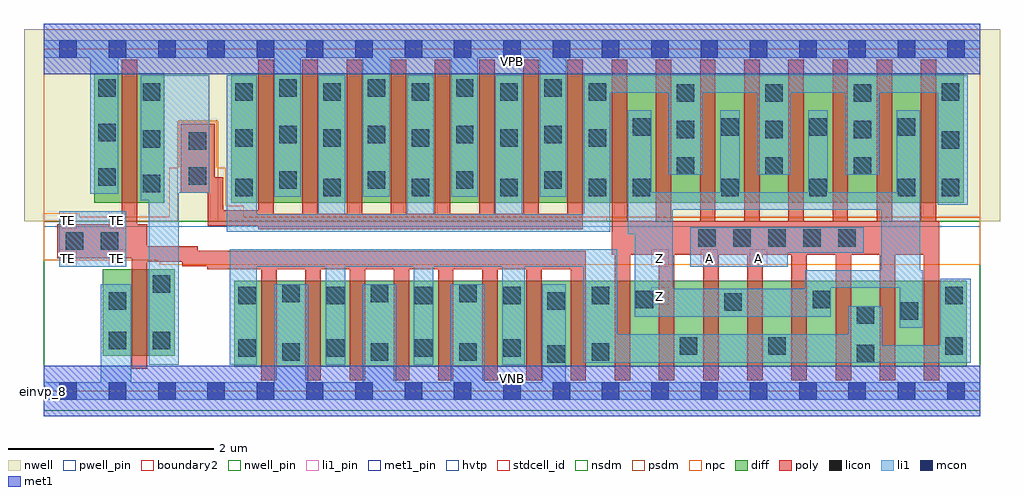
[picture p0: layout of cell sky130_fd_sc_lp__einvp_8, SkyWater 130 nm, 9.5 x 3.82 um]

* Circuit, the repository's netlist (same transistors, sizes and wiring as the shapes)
* Copyright 2020 The SkyWater PDK Authors
*
* Licensed under the Apache License, Version 2.0 (the "License");
* you may not use this file except in compliance with the License.
* You may obtain a copy of the License at
*
*     https://www.apache.org/licenses/LICENSE-2.0
*
* Unless required by applicable law or agreed to in writing, software
* distributed under the License is distributed on an "AS IS" BASIS,
* WITHOUT WARRANTIES OR CONDITIONS OF ANY KIND, either express or implied.
* See the License for the specific language governing permissions and
* limitations under the License.
*
* SPDX-License-Identifier: Apache-2.0

.SUBCKT sky130_fd_sc_lp__einvp_8 A TE VGND VNB VPB VPWR Z
*.PININFO A:I TE:I VGND:I VNB:I VPB:I VPWR:I Z:O
MMN0 Z A sndA VNB sky130_fd_pr__nfet_01v8 m=8 w=0.84U l=0.15U mult=1 sa=0.265 sb=0.265
+ sd=0.28 area=0.063 perim=1.14
MMN1 sndA TE VGND VNB sky130_fd_pr__nfet_01v8 m=8 w=0.84U l=0.15U mult=1 sa=0.265
+ sb=0.265 sd=0.28 area=0.063 perim=1.14
MMIN1 TEB TE VGND VNB sky130_fd_pr__nfet_01v8 m=1 w=0.84U l=0.15U mult=1 sa=0.265
+ sb=0.265 sd=0.28 area=0.063 perim=1.14
MMP0 VPWR TEB sndTEB VPB sky130_fd_pr__pfet_01v8_hvt m=8 w=1.26U l=0.15U mult=1
+ sa=0.265 sb=0.265 sd=0.28 area=0.063 perim=1.14
MMP1 sndTEB A Z VPB sky130_fd_pr__pfet_01v8_hvt m=8 w=1.26U l=0.15U mult=1 sa=0.265
+ sb=0.265 sd=0.28 area=0.063 perim=1.14
MMIP1 TEB TE VPWR VPB sky130_fd_pr__pfet_01v8_hvt m=1 w=1.26U l=0.15U mult=1 sa=0.265
+ sb=0.265 sd=0.28 area=0.063 perim=1.14
.ENDS sky130_fd_sc_lp__einvp_8

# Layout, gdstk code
import gdstk
lib = gdstk.Library(unit=1e-6, precision=1e-09)
def R(c, l, rs):  # rectangles x0, y0, x1, y1
    for r in rs: c.add(gdstk.rectangle(r[:2], r[2:], *l))
def A(c, l, x, y, w, h, nx, ny, dx, dy):  # array of equal rectangles
    R(c, l, [(x+i*dx, y+j*dy, x+i*dx+w, y+j*dy+h) for i in range(nx) for j in range(ny)])
def P(c, l, *ps):  # polygons
    for p in ps: c.add(gdstk.Polygon(p, *l))
nwell_pin = (64, 16)
nwell = (64, 20)
diff = (65, 20)
poly = (66, 20)
licon = (66, 44)
li1_pin = (67, 16)
li1 = (67, 20)
mcon = (67, 44)
met1_pin = (68, 16)
met1 = (68, 20)
hvtp = (78, 44)
stdcell_id = (81, 4)
nsdm = (93, 44)
psdm = (94, 20)
npc = (95, 20)
pwell_pin = (122, 16)
boundary2 = (236, 0)

sky130_fd_sc_lp__einvp_8 = lib.new_cell('sky130_fd_sc_lp__einvp_8')
R(sky130_fd_sc_lp__einvp_8, nwell_pin, [(0,3.085,9.12,3.33)])
R(sky130_fd_sc_lp__einvp_8, nwell, [(-0.19,1.655,9.31,3.52)])
R(sky130_fd_sc_lp__einvp_8, diff, [(1.855,0.235,8.985,1.075), (0.575,0.345,1.275,1.185), (0.495,1.835,1.175,3.095), (1.825,1.835,8.955,3.095)])
P(sky130_fd_sc_lp__einvp_8, poly, [(5.25,3.225),(5.1,3.225),(5.1,1.725),(4.82,1.725),(4.82,3.225),(4.67,3.225),(4.67,1.725),(4.39,1.725),(4.39,3.225),(4.24,3.225),(4.24,1.725),(3.96,1.725),(3.96,3.225),(3.81,3.225),(3.81,1.725),(3.53,1.725),(3.53,3.225),(3.38,3.225),(3.38,1.725),(3.1,1.725),(3.1,3.225),(2.95,3.225),(2.95,1.725),(2.67,1.725),(2.67,3.225),(2.52,3.225),(2.52,1.725),(2.24,1.725),(2.24,3.225),(2.09,3.225),(2.09,1.76),(1.75,1.76),(1.75,2.08),(1.665,2.08),(1.665,2.6),(1.335,2.6),(1.335,1.93),(1.6,1.93),(1.6,1.61),(2.09,1.61),(2.09,1.575),(5.25,1.575)],
  [(5.28,1.365),(1.5,1.365),(1.5,1.41),(1.01,1.41),(1.01,1.625),(0.91,1.625),(0.91,3.225),(0.76,3.225),(0.76,1.625),(0.135,1.625),(0.135,1.295),(0.86,1.295),(0.86,0.215),(1.01,0.215),(1.01,1.26),(1.35,1.26),(1.35,1.215),(1.595,1.215),(1.595,1.185),(2.12,1.185),(2.12,0.105),(2.27,0.105),(2.27,1.185),(2.55,1.185),(2.55,0.105),(2.7,0.105),(2.7,1.185),(2.98,1.185),(2.98,0.105),(3.13,0.105),(3.13,1.185),(3.41,1.185),(3.41,0.105),(3.56,0.105),(3.56,1.185),(3.84,1.185),(3.84,0.105),(3.99,0.105),(3.99,1.185),(4.27,1.185),(4.27,0.105),(4.42,0.105),(4.42,1.185),(4.7,1.185),(4.7,0.105),(4.85,0.105),(4.85,1.185),(5.13,1.185),(5.13,0.105),(5.28,0.105)],
  [(8.72,1.655),(8.69,1.655),(8.69,3.225),(8.54,3.225),(8.54,1.655),(8.26,1.655),(8.26,3.225),(8.11,3.225),(8.11,1.655),(7.83,1.655),(7.83,3.225),(7.68,3.225),(7.68,1.655),(7.4,1.655),(7.4,3.225),(7.25,3.225),(7.25,1.655),(6.97,1.655),(6.97,3.225),(6.82,3.225),(6.82,1.655),(6.54,1.655),(6.54,3.225),(6.39,3.225),(6.39,1.655),(6.11,1.655),(6.11,3.225),(5.96,3.225),(5.96,1.655),(5.68,1.655),(5.68,3.225),(5.53,3.225),(5.53,1.325),(5.56,1.325),(5.56,0.105),(5.71,0.105),(5.71,1.325),(5.99,1.325),(5.99,0.105),(6.14,0.105),(6.14,1.325),(6.42,1.325),(6.42,0.105),(6.57,0.105),(6.57,1.325),(6.85,1.325),(6.85,0.105),(7,0.105),(7,1.325),(7.28,1.325),(7.28,0.105),(7.43,0.105),(7.43,1.325),(7.71,1.325),(7.71,0.105),(7.86,0.105),(7.86,1.325),(8.14,1.325),(8.14,0.105),(8.29,0.105),(8.29,1.325),(8.57,1.325),(8.57,0.105),(8.72,0.105)])
A(sky130_fd_sc_lp__einvp_8, licon, 2.325, 0.295, 0.17, 0.17, 3, 2, 0.86, 0.57)
A(sky130_fd_sc_lp__einvp_8, licon, 1.895, 0.335, 0.17, 0.17, 4, 1, 0.86, 0)
A(sky130_fd_sc_lp__einvp_8, licon, 1.895, 0.845, 0.17, 0.17, 5, 1, 0.86, 0)
A(sky130_fd_sc_lp__einvp_8, licon, 6.375, 1.405, 0.17, 0.17, 5, 1, 0.34, 0)
A(sky130_fd_sc_lp__einvp_8, licon, 1.865, 1.895, 0.17, 0.17, 5, 2, 0.86, 0.485)
A(sky130_fd_sc_lp__einvp_8, licon, 5.735, 1.895, 0.17, 0.17, 4, 2, 0.86, 0.59)
A(sky130_fd_sc_lp__einvp_8, licon, 8.745, 1.895, 0.17, 0.17, 1, 3, 0, 0.465)
A(sky130_fd_sc_lp__einvp_8, licon, 2.295, 1.97, 0.17, 0.17, 4, 2, 0.86, 0.44)
A(sky130_fd_sc_lp__einvp_8, licon, 6.165, 2.105, 0.17, 0.17, 3, 3, 0.86, 0.355)
A(sky130_fd_sc_lp__einvp_8, licon, 1.865, 2.825, 0.17, 0.17, 5, 1, 0.86, 0)
A(sky130_fd_sc_lp__einvp_8, licon, 2.295, 2.865, 0.17, 0.17, 4, 1, 0.86, 0)
R(sky130_fd_sc_lp__einvp_8, licon, [(4.905,0.275,5.075,0.445), (7.915,0.28,8.085,0.45), (5.335,0.295,5.505,0.465), (6.195,0.355,6.365,0.525), (7.055,0.355,7.225,0.525), (8.775,0.355,8.945,0.525), (0.635,0.405,0.805,0.575), (1.065,0.405,1.235,0.575), (7.915,0.655,8.085,0.825), (8.345,0.695,8.515,0.865), (6.625,0.78,6.795,0.95), (0.635,0.79,0.805,0.96), (4.905,0.79,5.075,0.96), (5.765,0.805,5.935,0.975), (7.485,0.805,7.655,0.975), (8.775,0.845,8.945,1.015), (1.065,0.955,1.235,1.125), (0.215,1.375,0.385,1.545), (0.555,1.375,0.725,1.545), (0.965,1.935,1.135,2.105), (0.535,2,0.705,2.17), (1.415,2.01,1.585,2.18), (1.415,2.35,1.585,2.52), (0.965,2.37,1.135,2.54), (0.535,2.43,0.705,2.6), (0.965,2.825,1.135,2.995), (0.535,2.865,0.705,3.035)])
A(sky130_fd_sc_lp__einvp_8, li1_pin, 5.915, 1.21, 0.17, 0.17, 3, 1, 0.48, 0)
R(sky130_fd_sc_lp__einvp_8, li1_pin, [(5.915,0.84,6.085,1.01), (0.155,1.21,0.325,1.38), (0.635,1.21,0.805,1.38), (0.155,1.58,0.325,1.75), (0.635,1.58,0.805,1.75)])
R(sky130_fd_sc_lp__einvp_8, li1, [(0.155,1.21,0.805,1.75)])
P(sky130_fd_sc_lp__einvp_8, li1, [(1.615,3.075),(0.945,3.075),(0.945,1.855),(1.025,1.855),(1.025,0.255),(1.315,0.255),(1.315,1.93),(1.615,1.93)],
  [(9.025,1.095),(8.73,1.095),(8.73,0.445),(8.165,0.445),(8.165,0.825),(7.835,0.825),(7.835,0.555),(5.585,0.555),(5.585,1.38),(1.815,1.38),(1.815,0.255),(2.075,0.255),(2.075,1.21),(2.745,1.21),(2.745,0.255),(2.935,0.255),(2.935,1.21),(3.605,1.21),(3.605,0.255),(3.795,0.255),(3.795,1.21),(4.465,1.21),(4.465,0.255),(4.685,0.255),(4.685,1.21),(5.255,1.21),(5.255,0.275),(9.025,0.275)],
  [(9.12,3.415),(0,3.415),(0,3.245),(0.455,3.245),(0.455,1.92),(0.725,1.92),(0.725,3.245),(2.245,3.245),(2.245,1.89),(2.505,1.89),(2.505,3.245),(3.105,3.245),(3.105,1.89),(3.37,1.89),(3.37,3.245),(3.97,3.245),(3.97,1.89),(4.225,1.89),(4.225,3.245),(4.83,3.245),(4.83,1.89),(5.09,1.89),(5.09,3.245),(9.12,3.245)],
  [(7.985,1.595),(6.295,1.595),(6.295,1.21),(7.245,1.21),(7.245,1.345),(7.985,1.345)],
  [(8.56,1.175),(8.535,1.175),(8.535,2.735),(8.305,2.735),(8.305,1.935),(8.155,1.935),(8.155,1.175),(7.415,1.175),(7.415,0.995),(6.125,0.995),(6.125,1.765),(8.155,1.765),(8.155,1.935),(7.635,1.935),(7.635,2.735),(7.445,2.735),(7.445,1.935),(6.775,1.935),(6.775,2.735),(6.585,2.735),(6.585,1.935),(5.915,1.935),(5.915,2.735),(5.685,2.735),(5.685,1.525),(5.755,1.525),(5.755,0.725),(7.665,0.725),(7.665,1.005),(8.335,1.005),(8.335,0.615),(8.56,0.615)],
  [(9.12,0.085),(5.085,0.085),(5.085,1.04),(4.855,1.04),(4.855,0.085),(4.295,0.085),(4.295,1.04),(3.965,1.04),(3.965,0.085),(3.435,0.085),(3.435,1.04),(3.105,1.04),(3.105,0.085),(2.575,0.085),(2.575,1.04),(2.245,1.04),(2.245,0.085),(0.855,0.085),(0.855,1.04),(0.555,1.04),(0.555,0.085),(0,0.085),(0,-0.085),(9.12,-0.085)],
  [(8.995,3.075),(5.26,3.075),(5.26,1.72),(4.66,1.72),(4.66,3.075),(4.395,3.075),(4.395,1.72),(3.8,1.72),(3.8,3.075),(3.54,3.075),(3.54,1.72),(2.935,1.72),(2.935,3.075),(2.675,3.075),(2.675,1.72),(2.075,1.72),(2.075,3.075),(1.785,3.075),(1.785,1.55),(5.515,1.55),(5.515,2.905),(6.085,2.905),(6.085,2.105),(6.415,2.105),(6.415,2.905),(6.945,2.905),(6.945,2.105),(7.275,2.105),(7.275,2.905),(7.805,2.905),(7.805,2.105),(8.135,2.105),(8.135,2.905),(8.705,2.905),(8.705,1.815),(8.995,1.815)])
A(sky130_fd_sc_lp__einvp_8, mcon, 0.155, -0.085, 0.17, 0.17, 19, 2, 0.48, 3.33)
R(sky130_fd_sc_lp__einvp_8, met1_pin, [(0,0,9.12,0.245), (0,3.085,9.12,3.33)])
R(sky130_fd_sc_lp__einvp_8, met1, [(0,-0.245,9.12,0.245), (0,3.085,9.12,3.575)])
R(sky130_fd_sc_lp__einvp_8, hvtp, [(0,1.6,9.12,3.33)])
R(sky130_fd_sc_lp__einvp_8, stdcell_id, [(0,0,9.12,3.33)])
R(sky130_fd_sc_lp__einvp_8, nsdm, [(0,-0.19,9.12,1.655)])
P(sky130_fd_sc_lp__einvp_8, psdm, [(9.12,3.52),(0,3.52),(0,1.655),(1.305,1.655),(1.305,2.63),(1.695,2.63),(1.695,1.655),(5.48,1.655),(5.48,1.685),(9.12,1.685)])
P(sky130_fd_sc_lp__einvp_8, npc, [(9.12,1.695),(1.95,1.695),(1.95,1.805),(1.775,1.805),(1.775,2.175),(1.685,2.175),(1.685,2.62),(1.315,2.62),(1.315,2.175),(1.225,2.175),(1.225,1.695),(0.355,1.695),(0.355,1.73),(0,1.73),(0,1.275),(1.13,1.275),(1.13,1.23),(9.12,1.23)])
R(sky130_fd_sc_lp__einvp_8, pwell_pin, [(0,0,9.12,0.245)])
R(sky130_fd_sc_lp__einvp_8, boundary2, [(0,0,9.12,3.33)])
sky130_fd_sc_lp__einvp_8.add(gdstk.Label('VNB', (4.56,0.123), layer=64, texttype=59))
sky130_fd_sc_lp__einvp_8.add(gdstk.Label('VPB', (4.56,3.208), layer=64, texttype=5))
sky130_fd_sc_lp__einvp_8.add(gdstk.Label('einvp_8', (0,0), layer=83, texttype=44))
sky130_fd_sc_lp__einvp_8.add(gdstk.Label('VPWR', (4.56,3.208), layer=68, texttype=5))
sky130_fd_sc_lp__einvp_8.add(gdstk.Label('VGND', (4.56,0.123), layer=68, texttype=5))
sky130_fd_sc_lp__einvp_8.add(gdstk.Label('Z', (6,0.925), layer=67, texttype=5))
sky130_fd_sc_lp__einvp_8.add(gdstk.Label('Z', (6,1.295), layer=67, texttype=5))
sky130_fd_sc_lp__einvp_8.add(gdstk.Label('A', (6.96,1.295), layer=67, texttype=5))
sky130_fd_sc_lp__einvp_8.add(gdstk.Label('TE', (0.24,1.295), layer=67, texttype=5))
sky130_fd_sc_lp__einvp_8.add(gdstk.Label('TE', (0.24,1.665), layer=67, texttype=5))
sky130_fd_sc_lp__einvp_8.add(gdstk.Label('TE', (0.72,1.295), layer=67, texttype=5))
sky130_fd_sc_lp__einvp_8.add(gdstk.Label('TE', (0.72,1.665), layer=67, texttype=5))
sky130_fd_sc_lp__einvp_8.add(gdstk.Label('A', (6.48,1.295), layer=67, texttype=5))

lib.write_gds('sky130_fd_sc_lp__einvp_8.gds')
